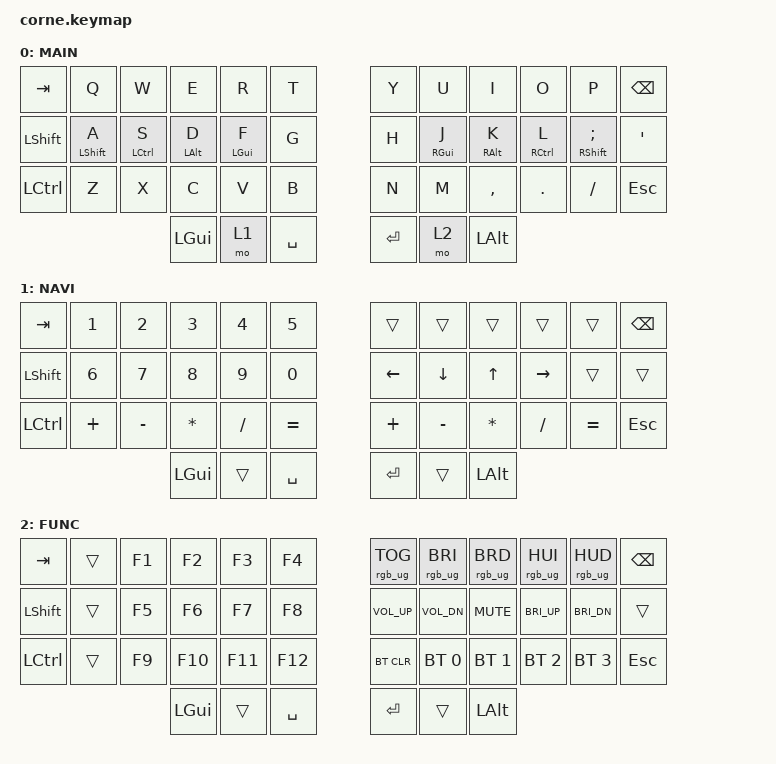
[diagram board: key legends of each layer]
/*
 * Copyright (c) 2020 The ZMK Contributors
 *
 * SPDX-License-Identifier: MIT
 */

#include <behaviors.dtsi>
#include <dt-bindings/zmk/bt.h>
#include <dt-bindings/zmk/keys.h>
#include <dt-bindings/zmk/rgb.h>
#include <dt-bindings/zmk/ext_power.h>
/ {
    behaviors {
        hm: homerow_mods {
            compatible = "zmk,behavior-hold-tap";
            label = "HOMEROW_MODS";
            #binding-cells = <2>;
            tapping-term-ms = <200>;
            quick-tap-ms = <180>;
            flavor = "tap-preferred";
            bindings = <&kp>, <&kp>;
            global-quick-tap;
        };

        ltq: ltq {
            compatible = "zmk,behavior-hold-tap";
            label = "LTQ";
            bindings = <&mo>, <&kp>;

            #binding-cells = <2>;
            tapping-term-ms = <600>;
            global-quick-tap;
            quick-tap-ms = <400>;
        };
    };

    combos {
        compatible = "zmk,combos";

        // Цифры: вертикальные комбо верхний+средний ряд
        combo_1 {
            bindings = <&kp N1>;
            key-positions = <1 13>;  // Q+A
            timeout-ms = <50>;
        };

        combo_2 {
            bindings = <&kp N2>;
            key-positions = <2 14>;  // W+S
            timeout-ms = <50>;
        };

        combo_3 {
            bindings = <&kp N3>;
            key-positions = <3 15>;  // E+D
            timeout-ms = <50>;
        };

        combo_4 {
            bindings = <&kp N4>;
            key-positions = <4 16>;  // R+F
            timeout-ms = <50>;
        };

        combo_5 {
            bindings = <&kp N5>;
            key-positions = <5 17>;  // T+G
            timeout-ms = <50>;
        };

        combo_6 {
            bindings = <&kp N6>;
            key-positions = <6 18>;  // Y+H
            timeout-ms = <50>;
        };

        combo_7 {
            bindings = <&kp N7>;
            key-positions = <7 19>;  // U+J
            timeout-ms = <50>;
        };

        combo_8 {
            bindings = <&kp N8>;
            key-positions = <8 20>;  // I+K
            timeout-ms = <50>;
        };

        combo_9 {
            bindings = <&kp N9>;
            key-positions = <9 21>;  // O+L
            timeout-ms = <50>;
        };

        combo_0 {
            bindings = <&kp N0>;
            key-positions = <10 22>;  // P+;
            timeout-ms = <50>;
        };

        left_bracket {
            bindings = <&kp LEFT_BRACKET>;
            key-positions = <8 9>;  // I+O (Ш+Щ) -> [/Х
            timeout-ms = <50>;
        };

        right_bracket {
            bindings = <&kp RIGHT_BRACKET>;
            key-positions = <9 10>;  // O+P (Щ+З) -> ]/Ъ
            timeout-ms = <50>;
        };

        // Обратный слеш \ (на русском Ж+Д)
        backslash {
            bindings = <&kp BACKSLASH>;
            key-positions = <22 21>;  // ;+L (Ж+Д)
            timeout-ms = <50>;
        };

        // Pipe | (на русском Д+Л)
        pipe {
            bindings = <&kp PIPE>;
            key-positions = <21 20>;  // L+K (Д+Л)
            timeout-ms = <50>;
        };

        // Тильда ~ (на русском Й+Ц)
        tilde {
            bindings = <&kp TILDE>;
            key-positions = <1 2>;  // Q+W (Й+Ц)
            timeout-ms = <50>;
        };

        // Спецсимволы: вертикальные комбо средний+нижний ряд
        combo_excl {
            bindings = <&kp EXCL>;
            key-positions = <13 25>;  // A+Z (Ф+Я)
            timeout-ms = <50>;
        };

        combo_at {
            bindings = <&kp AT>;
            key-positions = <14 26>;  // S+X (Ы+Ч)
            timeout-ms = <50>;
        };

        combo_hash {
            bindings = <&kp HASH>;
            key-positions = <15 27>;  // D+C (В+С)
            timeout-ms = <50>;
        };

        combo_dollar {
            bindings = <&kp DOLLAR>;
            key-positions = <16 28>;  // F+V (А+М)
            timeout-ms = <50>;
        };

        combo_percent {
            bindings = <&kp PERCENT>;
            key-positions = <17 29>;  // G+B (П+И)
            timeout-ms = <50>;
        };

        combo_caret {
            bindings = <&kp CARET>;
            key-positions = <18 30>;  // H+N (Р+Т)
            timeout-ms = <50>;
        };

        combo_ampersand {
            bindings = <&kp AMPERSAND>;
            key-positions = <19 31>;  // J+M (О+Ь)
            timeout-ms = <50>;
        };

        combo_star {
            bindings = <&kp STAR>;
            key-positions = <20 32>;  // K+, (Л+Б)
            timeout-ms = <50>;
        };

        combo_lpar {
            bindings = <&kp LEFT_PARENTHESIS>;
            key-positions = <21 33>;  // L+. (Д+Ю)
            timeout-ms = <50>;
        };

        combo_rpar {
            bindings = <&kp RIGHT_PARENTHESIS>;
            key-positions = <22 34>;  // ;+/ (Ж+.)
            timeout-ms = <50>;
        };

        // DELETE на raise слое: BKSP + клавиша под ним
        delete_key {
            bindings = <&kp DELETE>;
            key-positions = <11 23>;  // BKSP + клавиша под ним
            timeout-ms = <50>;
        };
    };

    keymap {
                compatible = "zmk,keymap";

                default_layer {
// -----------------------------------------------------------------------------------------
// |  TAB |  Q  |  W  |  E  |  R  |  T  |   |  Y  |  U   |  I  |  O  |  P  | BKSP |
// | SHFT |  A  |  S  |  D  |  F  |  G  |   |  H  |  J   |  K  |  L  |  ;  |  '   |
// | CTRL |  Z  |  X  |  C  |  V  |  B  |   |  N  |  M   |  ,  |  .  |  /  | ESC  |
//                    | GUI | LWR | SPC |   | ENT | RSE  | ALT |
// Homerow mods: A=Shift, S=Ctrl, D=Alt, F=GUI | J=GUI, K=Alt, L=Ctrl, ;=Shift
                        display-name = "MAIN";
                        bindings = <
   &kp TAB        &kp Q         &kp W        &kp E        &kp R        &kp T      &kp Y     &kp U        &kp I        &kp O         &kp P            &kp BSPC
   &kp LSHFT      &hm LSHFT A   &hm LCTRL S  &hm LALT D   &hm LGUI F   &kp G      &kp H     &hm RGUI J   &hm RALT K   &hm RCTRL L   &hm RSHFT SEMI   &kp SQT
   &kp LCTRL      &kp Z         &kp X        &kp C        &kp V        &kp B      &kp N     &kp M        &kp COMMA    &kp DOT       &kp FSLH         &kp ESC
                                             &kp LGUI     &mo 1        &kp SPACE  &kp RET   &mo 2        &kp LALT
                        >;
                };
                lower_layer {
// -----------------------------------------------------------------------------------------
// |  TAB |  1  |  2  |  3  |  4  |  5  |   |     |     |     |     |     | BKSP |
// | SHFT |  6  |  7  |  8  |  9  |  0  |   |  <- |  ↓  |  ↑  |  -> |     |      |
// | CTRL |  +  |  -  |  *  |  /  |  =  |   |  +  |  -  |  *  |  /  |  =  | ESC  |
//                    | GUI |     | SPC |   | ENT |     | ALT |
// Цифры 1-5 на верхнем ряду, 6-0 на среднем, математические операторы на нижнем (отзеркалены на обе половины)
                        display-name = "NAVI";
                        bindings = <
   &kp TAB        &kp N1           &kp N2           &kp N3           &kp N4           &kp N5             &trans     &trans     &trans   &trans    &trans  &kp BSPC
   &kp LSHFT      &kp N6           &kp N7           &kp N8           &kp N9           &kp N0             &kp LEFT   &kp DOWN   &kp UP   &kp RIGHT &trans  &trans
   &kp LCTRL      &kp PLUS         &kp MINUS        &kp STAR         &kp FSLH         &kp EQUAL          &kp PLUS     &kp MINUS     &kp STAR   &kp FSLH    &kp EQUAL  &kp ESC
                                                    &kp LGUI         &trans           &kp SPACE          &kp RET    &trans     &kp LALT
                        >;
                };

                raise_layer {
// -----------------------------------------------------------------------------------------
// |  TAB |     |  F1 |  F2 |  F3 |  F4 |   |RGBTOG| RGB+ | RGB- | HUE+ | HUE- | BKSP |
// | SHFT |     |  F5 |  F6 |  F7 |  F8 |   | VOL+ | VOL- | MUTE | BRI+ | BRI- |      |
// | CTRL |     |  F9 | F10 | F11 | F12 |   |BTCLR | BT0  | BT1  | BT2  | BT3  | ESC  |
//                    | GUI |     | SPC |   | ENT  |      | ALT  |
// TAB/SHFT/CTRL в первой колонке, F1-F12 смещены на 2 позиции вправо, ESC внизу справа
// Комбо: BKSP + клавиша под ним = DELETE
                        display-name = "FUNC";
                        bindings = <
   &kp TAB    &trans    &kp F1   &kp F2    &kp F3    &kp F4        &rgb_ug RGB_TOG  &rgb_ug RGB_BRI  &rgb_ug RGB_BRD  &rgb_ug RGB_HUI  &rgb_ug RGB_HUD  &kp BSPC
   &kp LSHFT  &trans    &kp F5   &kp F6    &kp F7    &kp F8        &kp C_VOL_UP     &kp C_VOL_DN     &kp C_MUTE       &kp C_BRI_UP     &kp C_BRI_DN     &trans
   &kp LCTRL  &trans    &kp F9   &kp F10   &kp F11   &kp F12       &bt BT_CLR       &bt BT_SEL 0     &bt BT_SEL 1     &bt BT_SEL 2     &bt BT_SEL 3     &kp ESC
                                 &kp LGUI  &trans    &kp SPACE     &kp RET          &trans           &kp LALT
                        >;
                };

                extra_1 {
                        status = "reserved";
                };

                extra_2 {
                        status = "reserved";
                };

                extra_3 {
                        status = "reserved";
                };
        };
};
